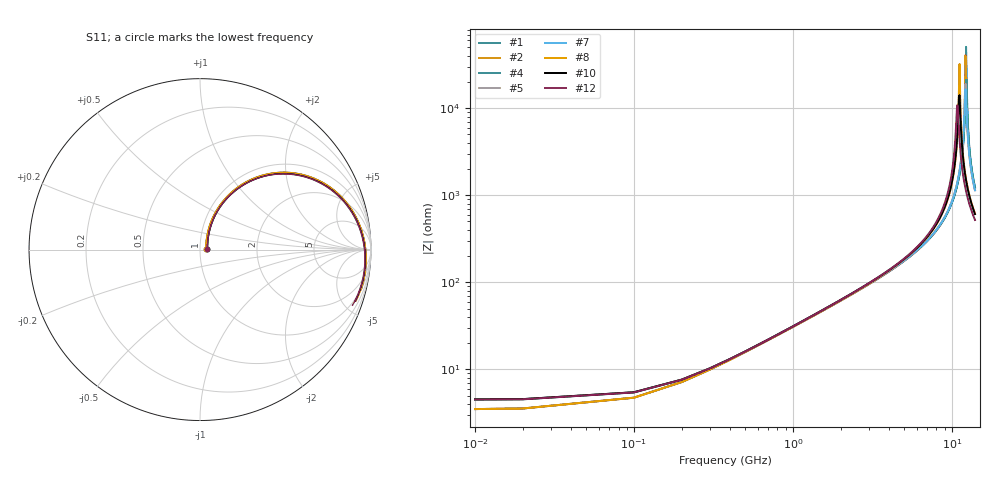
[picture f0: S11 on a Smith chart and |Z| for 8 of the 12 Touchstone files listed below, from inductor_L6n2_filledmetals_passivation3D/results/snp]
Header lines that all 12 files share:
! Created with skrf 1.12.0 (http://scikit-rf.org).
# GHz S DB R 50.0
!freq dBS11 angS11 dBS21 angS21 dBS12 angS12 dBS22 angS22
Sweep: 10 MHz to 14 GHz
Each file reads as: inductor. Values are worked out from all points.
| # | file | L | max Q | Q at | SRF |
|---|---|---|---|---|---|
| 1 | conformal_surface_1um.s2p | 4.86 nH | 50.9 | 8.9 GHz | 12.3 GHz |
| 2 | conformal_surface_2um.s2p | 4.86 nH | 48.6 | 8.7 GHz | 12.2 GHz |
| 3 | conformal_surface_5um.s2p | 4.86 nH | 44.7 | 8.4 GHz | 12 GHz |
| 4 | conformal_volume_1um.s2p | 4.87 nH | 26.4 | 7.5 GHz | 12.2 GHz |
| 5 | conformal_volume_2um.s2p | 4.87 nH | 25.4 | 7.3 GHz | 12.2 GHz |
| 6 | conformal_volume_5um.s2p | 4.86 nH | 23 | 6.9 GHz | 12 GHz |
| 7 | passicut_volume_5um.s2p | 4.86 nH | 23.4 | 7.1 GHz | 12.2 GHz |
| 8 | planar_surface_1um.s2p | 4.86 nH | 39.5 | 7.5 GHz | 11.1 GHz |
| 9 | planar_surface_2um.s2p | 4.86 nH | 38.3 | 7.4 GHz | 11.1 GHz |
| 10 | planar_volume_1um.s2p | 4.87 nH | 23.2 | 6.5 GHz | 11.1 GHz |
| 11 | planar_volume_2um.s2p | 4.87 nH | 22.4 | 6.4 GHz | 11 GHz |
| 12 | planar_volume_5um.s2p | 4.86 nH | 20.2 | 5.9 GHz | 10.8 GHz |
